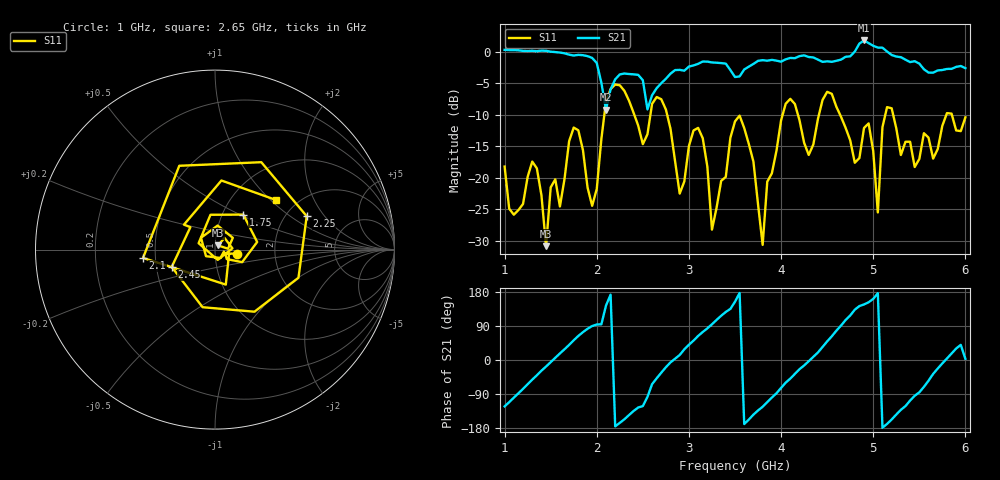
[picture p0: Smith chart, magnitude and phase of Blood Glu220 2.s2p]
! NanoVNA-App
! Date: 2024-03-21 01:35:05
! Start: 1GHz Stop: 6GHz Points: 101
! S-Parameter data: F S11 S21 S12 S22
# Hz S RI R 50
!	Frequency	S11_Real	S11_Imag	S21_Real	S21_Imag	S12_Real	S12_Imag	S22_Real	S22_Imag
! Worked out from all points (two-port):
!   101 points, 1 GHz to 6 GHz, reference 50 ohm
!   highest |S21| = 1.82 dB at 4.9 GHz (marker M1); lowest = -9.2 dB at 2.1 GHz (marker M2)
!   |S21| within 3 dB of the highest: start of sweep to 1.964 GHz; 4.655 GHz to 5.344 GHz (688.1 MHz wide, 13.8 % of centre)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
!   lowest |S11| = -30.8 dB at 1.45 GHz (marker M3), VSWR 1.06, Z = 51.7 + j2.39 ohm
!   |S11| at or under -10 dB: start of sweep to 2.082 GHz; 2.764 GHz to 4.016 GHz (1.252 GHz wide, 36.9 % of centre); 5.217 GHz to 5.793 GHz (576.2 MHz wide, 10.5 % of centre)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
!   S12 and S22 are empty: the file has one direction only
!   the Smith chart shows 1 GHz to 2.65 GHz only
!   S11 on the Smith chart (normalised r, x): 1 GHz: 1.27, -0.06; 1.75 GHz: 1.25, +0.52; 2.1 GHz: 0.43, -0.05; 2.25 GHz: 2.57, +1.36; 2.45 GHz: 0.60, -0.12; 2.65 GHz: 1.58, +1.08
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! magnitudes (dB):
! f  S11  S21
! 1 GHz  -18.2  0.3
! 1.35 GHz  -18.5  0.1
! 1.45 GHz  -30.8  0.2
! 1.75 GHz  -12.0  -0.6
! 1.85 GHz  -15.6  -0.5
! 1.95 GHz  -24.4  -1.0
! 2.1 GHz  -7.9  -9.2
! 2.25 GHz  -5.3  -3.6
! 2.45 GHz  -11.7  -3.6
! 2.65 GHz  -7.2  -5.8
! 2.7 GHz  -7.5  -5.0
! 2.9 GHz  -22.5  -2.8
! 3.15 GHz  -13.7  -1.5
! 3.25 GHz  -28.2  -1.7
! 3.5 GHz  -11.0  -4.0
! 3.8 GHz  -30.6  -1.3
! 4.05 GHz  -8.2  -1.2
! 4.35 GHz  -14.7  -0.9
! 4.9 GHz  -12.1  1.8
! 5.05 GHz  -25.5  0.7
! 5.2 GHz  -9.0  -0.5
! 6 GHz  -10.4  -2.6
